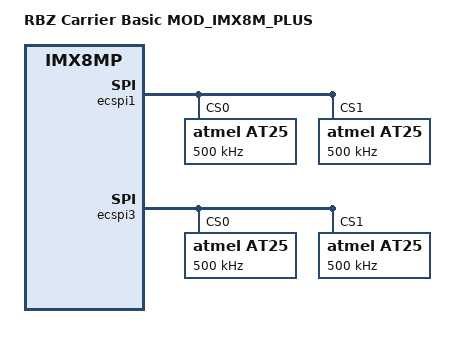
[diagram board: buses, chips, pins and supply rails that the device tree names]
// SPDX-License-Identifier: (GPL-2.0+ OR MIT)
/*
 * Copyright 2019 NXP
 */

/dts-v1/;

#include "../freescale/imx8mp.dtsi"
#include "mod-imx8m-plus.dtsi"

/ {
	model = "RBZ Carrier Basic MOD_IMX8M_PLUS";
	compatible = "fsl,imx8mp-evk", "fsl,imx8mp";
};

&ecspi1 {
  status = "okay";

  at25@0 {
    compatible = "atmel,at25";
    reg = <0>;
    spi-max-frequency = <500000>;
    pagesize = <8>;
    size = <128>;
    address-width = <8>;
  };
  
  at25@1 {
    compatible = "atmel,at25";
    reg = <1>;
    spi-max-frequency = <500000>;
    pagesize = <8>;
    size = <128>;
    address-width = <8>;
  };
};

&ecspi3 {
  status = "okay";

  at25@0 {
    compatible = "atmel,at25";
    reg = <0>;
    spi-max-frequency = <500000>;
    pagesize = <8>;
    size = <128>;
    address-width = <8>;
  };
  
  at25@1 {
    compatible = "atmel,at25";
    reg = <1>;
    spi-max-frequency = <500000>;
    pagesize = <8>;
    size = <128>;
    address-width = <8>;
  };
};
